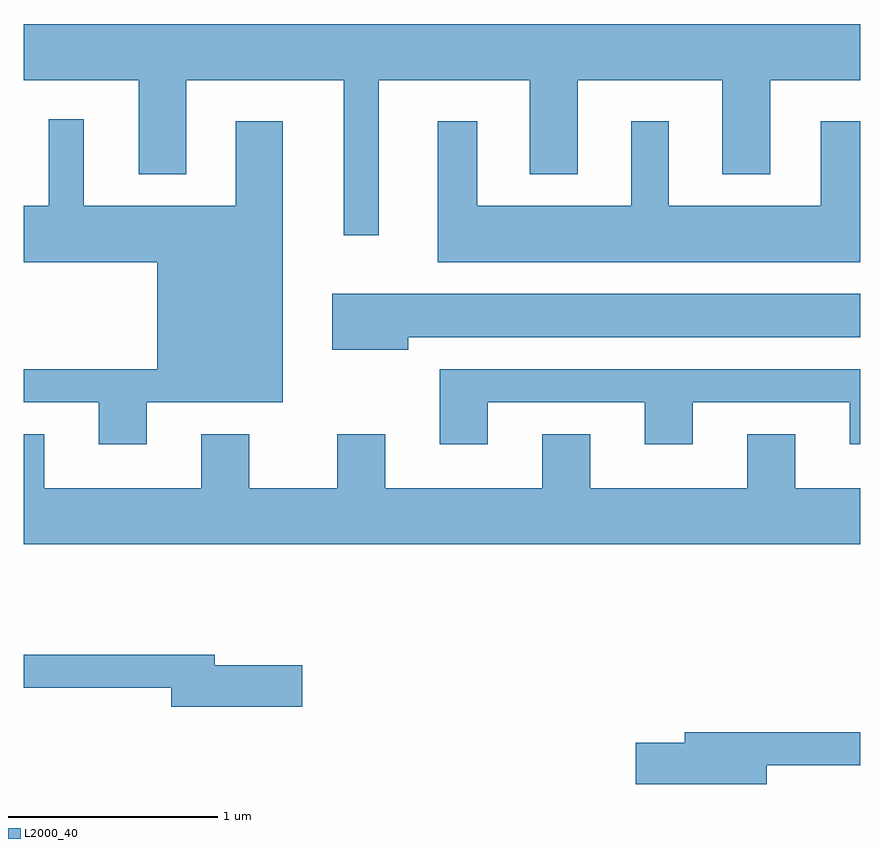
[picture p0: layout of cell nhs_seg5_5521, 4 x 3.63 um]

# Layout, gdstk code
import gdstk
lib = gdstk.Library(unit=1e-6, precision=1e-09)
def P(c, l, *ps):  # polygons
    for p in ps: c.add(gdstk.Polygon(p, *l))
L2000_40 = (2000, 40)

nhs_seg5_5521 = lib.new_cell('nhs_seg5_5521')
P(nhs_seg5_5521, L2000_40, [(351.309,1403.516),(352.031,1403.516),(352.031,1403.066),(352.259,1403.066),(352.259,1403.516),(352.951,1403.516),(352.951,1403.066),(353.179,1403.066),(353.179,1403.516),(353.611,1403.516),(353.611,1403.784),(349.611,1403.784),(349.611,1403.516),(350.161,1403.516),(350.161,1403.066),(350.389,1403.066),(350.389,1403.516),(351.141,1403.516),(351.141,1402.773),(351.309,1402.773)],
  [(350.199,1401.976),(350.849,1401.976),(350.849,1403.319),(350.626,1403.319),(350.626,1402.914),(349.899,1402.914),(349.899,1403.328),(349.731,1403.328),(349.731,1402.914),(349.611,1402.914),(349.611,1402.646),(350.251,1402.646),(350.251,1402.134),(349.611,1402.134),(349.611,1401.976),(349.971,1401.976),(349.971,1401.776),(350.199,1401.776)],
  [(353.611,1403.319),(353.421,1403.319),(353.421,1402.914),(352.694,1402.914),(352.694,1403.319),(352.516,1403.319),(352.516,1402.914),(351.779,1402.914),(351.779,1403.319),(351.591,1403.319),(351.591,1402.646),(353.611,1402.646)],
  [(351.449,1402.286),(353.611,1402.286),(353.611,1402.494),(351.086,1402.494),(351.086,1402.226),(351.449,1402.226)],
  [(351.829,1401.976),(352.581,1401.976),(352.581,1401.776),(352.809,1401.776),(352.809,1401.976),(353.561,1401.976),(353.561,1401.776),(353.611,1401.776),(353.611,1402.134),(351.601,1402.134),(351.601,1401.776),(351.829,1401.776)],
  [(353.611,1401.564),(353.299,1401.564),(353.299,1401.824),(353.071,1401.824),(353.071,1401.564),(352.319,1401.564),(352.319,1401.824),(352.091,1401.824),(352.091,1401.564),(351.339,1401.564),(351.339,1401.824),(351.111,1401.824),(351.111,1401.564),(350.689,1401.564),(350.689,1401.824),(350.461,1401.824),(350.461,1401.564),(349.709,1401.564),(349.709,1401.824),(349.611,1401.824),(349.611,1401.296),(353.611,1401.296)],
  [(350.944,1400.719),(350.524,1400.719),(350.524,1400.769),(349.611,1400.769),(349.611,1400.611),(350.316,1400.611),(350.316,1400.521),(350.944,1400.521)],
  [(353.164,1400.241),(353.611,1400.241),(353.611,1400.399),(352.771,1400.399),(352.771,1400.349),(352.536,1400.349),(352.536,1400.151),(353.164,1400.151)])

lib.write_gds('nhs_seg5_5521.gds')
